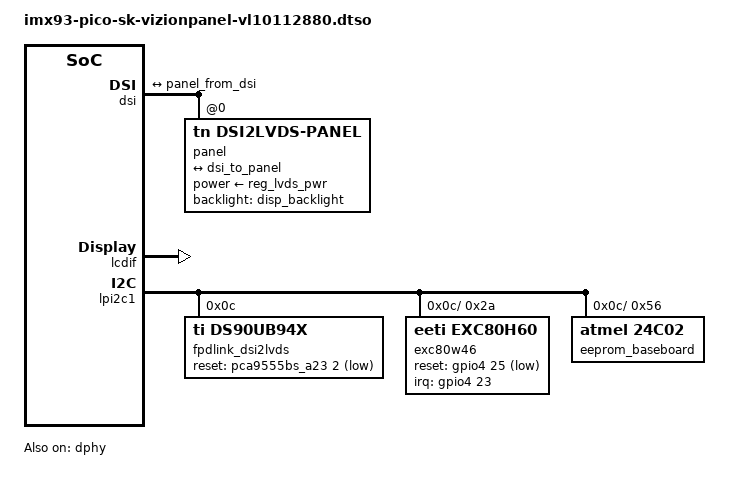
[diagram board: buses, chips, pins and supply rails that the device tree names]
// SPDX-License-Identifier: (GPL-2.0 OR MIT)
/*
 * Copyright 2020 TechNexion Ltd.
 *
 * Author: Richard Hu <richard.hu@technexion.com>
 *
 */

/dts-v1/;
/plugin/;

#include <dt-bindings/interrupt-controller/irq.h>
#include <dt-bindings/gpio/gpio.h>

&{/} {
	reg_lvds_pwr: regulator_lvdspwr {
		status = "okay";
	};

	reg_mipi_backlight_pwr: regulator_mipiblpwr {
		status = "okay";
	};

	disp_backlight: disp_backlight {
		status = "okay";
	};
};

&dphy {
	status = "okay";
};

&dsi {
	status = "okay";
	#address-cells = <1>;
	#size-cells = <0>;

	panel@0 {
		compatible = "tn,dsi2lvds-panel";
		reg = <0>;
		backlight = <&disp_backlight>;
		power-supply = <&reg_lvds_pwr>;

		dsi,flags = <0x0003>;
		dsi,format = <0>;
		dsi,lanes = <4>;
		panel-width-mm  = <217>;
		panel-height-mm = <135>;
		bus-format = <0x100a>;	/* MEDIA_BUS_FMT_RGB888_1X24 */
		bus-flags = <1>;
		refresh-rate = <60>;
		rotate = <0>;
		/* horz-flip; */
		/* vert-flip; */

		panel-timing {
			clock-frequency = <69500000>;
			hactive = <1280>;
			vactive = <800>;
			hfront-porch = <40>;
			hsync-len = <80>;
			hback-porch = <40>;
			vfront-porch = <3>;
			vsync-len = <10>;
			vback-porch = <10>;
			/* flags = DISPLAY_FLAGS_HSYNC_HIGH | DISPLAY_FLAGS_VSYNC_HIGH */
			vsync-active = <1>;
			hsync-active = <1>;
		};

		port {
			panel_from_dsi: endpoint {
				remote-endpoint = <&dsi_to_panel>;
			};
		};
	};

	ports {
		#address-cells = <1>;
		#size-cells = <0>;
		port@1 {
			reg = <1>;

			dsi_to_panel: endpoint {
				remote-endpoint = <&panel_from_dsi>;
			};
		};
	};
};

&lcdif {
	status = "okay";
	assigned-clock-rates = <445333333>, <148444444>, <400000000>, <133333333>;
};

&lpi2c1 {
	#address-cells = <1>;
	#size-cells = <0>;
	status = "okay";

	fpdlink_dsi2lvds: ds90ub948@c {
		compatible = "ti,ds90ub94x";
		reg = <0x0c>;
		status = "okay";
		reset-gpios = <&pca9555bs_a23 2 GPIO_ACTIVE_LOW>;
		vizionpanel-remote-gpio;
		dsi-delay = <2500>;
		i2c-alias-pool = <0x48 0x49 0x4a 0x4b 0x4c 0x4d 0x4e 0x4f>;

		i2c {
			#address-cells = <1>;
			#size-cells = <0>;

			exc80w46: touchscreen@2a {
				compatible = "eeti,exc80h60";
				pinctrl-names = "touch_reset", "mipi_touch";
				pinctrl-0 = <&pinctrl_touch>;
				pinctrl-1 = <&pinctrl_mipi_touch_irq>;
				reg = <0x2a>;
				interrupt-parent = <&gpio4>;
				interrupts = <23 IRQ_TYPE_LEVEL_LOW>;
				reset-gpios = <&gpio4 25 GPIO_ACTIVE_LOW>;
				status = "okay";
			};

			eeprom_baseboard: eeprom@56 {
				compatible = "atmel,24c02";
				reg = <0x56>;
				pagesize = <16>;
				status = "okay";
			};
		};
	};
};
